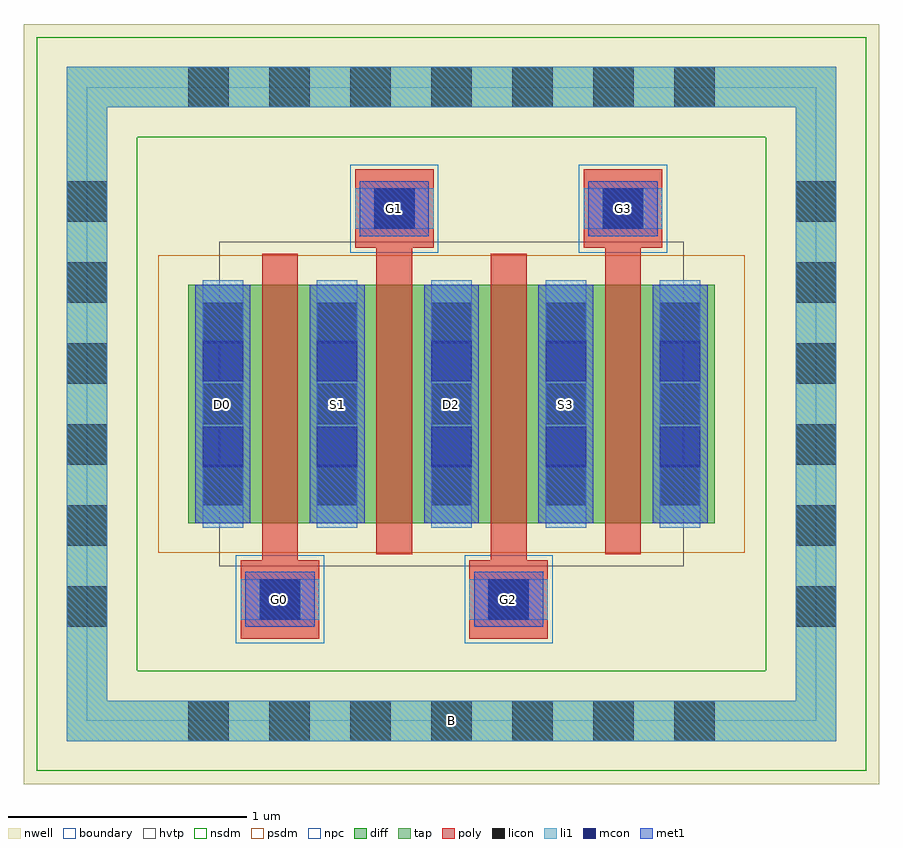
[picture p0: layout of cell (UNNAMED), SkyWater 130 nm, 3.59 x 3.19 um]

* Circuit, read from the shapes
.subckt (UNNAMED) B D0 D2 G0 G1 G2 G3 S1 S3
XM1 S1 G0 D0 B sky130_fd_pr__pfet_01v8_hvt w=1 l=0.15
XM2 D2 G1 S1 B sky130_fd_pr__pfet_01v8_hvt w=1 l=0.15
XM3 S3 G2 D2 B sky130_fd_pr__pfet_01v8_hvt w=1 l=0.15
XM4 n1 G3 S3 B sky130_fd_pr__pfet_01v8_hvt w=1 l=0.15
.ends

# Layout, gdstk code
import gdstk
lib = gdstk.Library(unit=1e-6, precision=1e-09)
def R(c, l, rs):  # rectangles x0, y0, x1, y1
    for r in rs: c.add(gdstk.rectangle(r[:2], r[2:], *l))
def A(c, l, x, y, w, h, nx, ny, dx, dy):  # array of equal rectangles
    R(c, l, [(x+i*dx, y+j*dy, x+i*dx+w, y+j*dy+h) for i in range(nx) for j in range(ny)])
nwell = (64, 20)
diff = (65, 20)
tap = (65, 44)
poly = (66, 20)
licon = (66, 44)
li1 = (67, 20)
mcon = (67, 44)
met1 = (68, 20)
hvtp = (78, 44)
nsdm = (93, 44)
psdm = (94, 20)
npc = (95, 20)
boundary = (235, 4)

c__unnamed_ = lib.new_cell('(UNNAMED)')
R(c__unnamed_, nwell, [(-1.795,-1.595,1.795,1.595)])
R(c__unnamed_, diff, [(-1.105,-0.5,1.105,0.5)])
R(c__unnamed_, tap, [(-1.615,-1.415,1.615,-1.245), (-1.615,-1.245,-1.445,1.245), (1.445,-1.245,1.615,1.245), (-1.615,1.245,1.615,1.415)])
R(c__unnamed_, poly, [(-0.885,-0.985,-0.555,-0.655), (0.075,-0.985,0.405,-0.655), (-0.795,-0.655,-0.645,0.63), (0.165,-0.655,0.315,0.63), (-0.315,-0.63,-0.165,0.655), (0.645,-0.63,0.795,0.655), (-0.405,0.655,-0.075,0.985), (0.555,0.655,0.885,0.985)])
A(c__unnamed_, licon, -1.105, -1.415, 0.17, 0.17, 7, 2, 0.34, 2.66)
A(c__unnamed_, licon, -1.615, -0.935, 0.17, 0.17, 1, 6, 0, 0.34)
A(c__unnamed_, licon, 1.445, -0.935, 0.17, 0.17, 1, 6, 0, 0.34)
A(c__unnamed_, licon, -1.045, -0.425, 0.17, 0.17, 5, 3, 0.48, 0.34)
R(c__unnamed_, licon, [(-0.805,-0.905,-0.635,-0.735), (0.155,-0.905,0.325,-0.735), (-0.325,0.735,-0.155,0.905), (0.635,0.735,0.805,0.905)])
A(c__unnamed_, li1, -1.045, -0.52, 0.17, 1.04, 5, 1, 0.48, 0)
R(c__unnamed_, li1, [(-1.615,-1.415,1.615,-1.245), (-1.615,-1.245,-1.445,1.245), (1.445,-1.245,1.615,1.245), (-0.885,-0.905,-0.555,-0.735), (0.075,-0.905,0.405,-0.735), (-0.405,0.735,-0.075,0.905), (0.555,0.735,0.885,0.905), (-1.615,1.245,1.615,1.415)])
A(c__unnamed_, mcon, -1.045, -0.265, 0.17, 0.17, 5, 2, 0.48, 0.36)
R(c__unnamed_, mcon, [(-0.805,-0.905,-0.635,-0.735), (0.155,-0.905,0.325,-0.735), (-0.325,0.735,-0.155,0.905), (0.635,0.735,0.805,0.905)])
A(c__unnamed_, met1, -1.075, -0.5, 0.23, 1, 5, 1, 0.48, 0)
R(c__unnamed_, met1, [(-0.865,-0.935,-0.575,-0.705), (0.095,-0.935,0.385,-0.705), (-0.385,0.705,-0.095,0.935), (0.575,0.705,0.865,0.935)])
R(c__unnamed_, hvtp, [(-0.975,-0.68,0.975,0.68)])
R(c__unnamed_, nsdm, [(-1.74,-1.54,1.74,-1.12), (-1.74,-1.12,-1.32,1.12), (1.32,-1.12,1.74,1.12), (-1.74,1.12,1.74,1.54)])
R(c__unnamed_, psdm, [(-1.23,-0.625,1.23,0.625)])
R(c__unnamed_, npc, [(-0.905,-1.005,-0.535,-0.635), (0.055,-1.005,0.425,-0.635), (-0.425,0.635,-0.055,1.005), (0.535,0.635,0.905,1.005)])
R(c__unnamed_, boundary, [(-1.53,-1.33,1.53,1.33)])
c__unnamed_.add(gdstk.Label('B', (0,-1.33), layer=67, texttype=5))
c__unnamed_.add(gdstk.Label('D0', (-0.96,0), layer=67, texttype=5))
c__unnamed_.add(gdstk.Label('G0', (-0.72,-0.82), layer=67, texttype=5))
c__unnamed_.add(gdstk.Label('S1', (-0.48,0), layer=67, texttype=5))
c__unnamed_.add(gdstk.Label('G1', (-0.24,0.82), layer=67, texttype=5))
c__unnamed_.add(gdstk.Label('D2', (0,0), layer=67, texttype=5))
c__unnamed_.add(gdstk.Label('G2', (0.24,-0.82), layer=67, texttype=5))
c__unnamed_.add(gdstk.Label('S3', (0.48,0), layer=67, texttype=5))
c__unnamed_.add(gdstk.Label('G3', (0.72,0.82), layer=67, texttype=5))

lib.write_gds('_UNNAMED_.gds')
